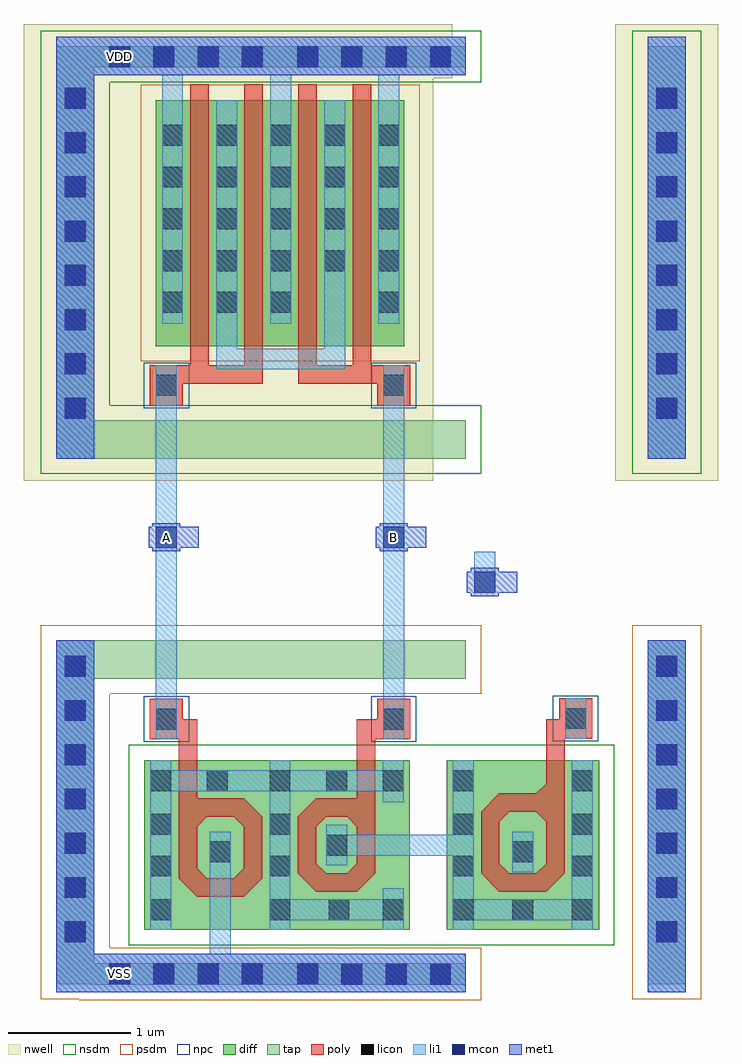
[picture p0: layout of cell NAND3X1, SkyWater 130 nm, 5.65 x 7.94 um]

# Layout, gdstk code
from math import pi, radians
import gdstk
lib = gdstk.Library(unit=1e-6, precision=1e-09)
def R(c, l, rs):  # rectangles x0, y0, x1, y1
    for r in rs: c.add(gdstk.rectangle(r[:2], r[2:], *l))
def A(c, l, x, y, w, h, nx, ny, dx, dy):  # array of equal rectangles
    R(c, l, [(x+i*dx, y+j*dy, x+i*dx+w, y+j*dy+h) for i in range(nx) for j in range(ny)])
def P(c, l, *ps):  # polygons
    for p in ps: c.add(gdstk.Polygon(p, *l))
nwell = (64, 20)
diff = (65, 20)
tap = (65, 44)
poly = (66, 20)
licon = (66, 44)
li1 = (67, 20)
mcon = (67, 44)
met1 = (68, 20)
nsdm = (93, 44)
psdm = (94, 20)
npc = (95, 20)

poly_li1_contact = lib.new_cell('poly_li1_contact')
R(poly_li1_contact, poly, [(-0.165,-0.135,0.165,0.135)])
R(poly_li1_contact, licon, [(-0.085,-0.085,0.085,0.085)])
R(poly_li1_contact, li1, [(-0.165,-0.085,0.165,0.085)])
R(poly_li1_contact, npc, [(-0.185,-0.185,0.185,0.185)])

pmos2 = lib.new_cell('pmos2')
R(pmos2, nwell, [(0.26,-2.175,1.76,0.185)])
R(pmos2, diff, [(0.44,-1.995,1.58,0.005)])
R(pmos2, poly, [(0.72,-2.3,1.31,-2.15), (0.72,-2.15,0.87,0.135), (1.16,-2.15,1.31,0.135)])
A(pmos2, licon, 0.49, -1.385, 0.17, 0.17, 3, 4, 0.44, 0.34)
R(pmos2, licon, [(0.49,-1.725,0.66,-1.555), (1.37,-1.725,1.54,-1.555)])
R(pmos2, li1, [(0.49,-1.815,0.66,0.21), (0.93,-1.815,1.1,0.005), (1.37,-1.815,1.54,0.21)])
R(pmos2, psdm, [(0.315,-2.12,1.705,0.13)])

nmos_bottom = lib.new_cell('nmos_bottom')
R(nmos_bottom, diff, [(-0.185,-0.02,1.055,1.36)])
R(nmos_bottom, poly, [(0.245,0.25,0.625,0.4), (0.095,0.4,0.245,0.9), (0.625,0.4,0.775,0.9), (0.095,0.9,0.625,1.05), (0.095,1.05,0.245,1.49)])
P(nmos_bottom, poly, [(0.625,1.05),(0.625,0.9),(0.775,0.9)],
  [(0.245,0.82),(0.245,0.9),(0.325,0.9)],
  [(0.545,0.9),(0.625,0.9),(0.625,0.82)],
  [(0.245,0.48),(0.245,0.4),(0.325,0.4)],
  [(0.545,0.4),(0.625,0.4),(0.625,0.48)],
  [(0.095,0.4),(0.245,0.4),(0.245,0.25)],
  [(0.625,0.25),(0.625,0.4),(0.775,0.4)])
R(nmos_bottom, licon, [(-0.135,0.06,0.035,0.23), (0.835,0.06,1.005,0.23), (-0.135,0.415,0.035,0.585), (0.835,0.415,1.005,0.585), (0.35,0.53,0.52,0.7), (-0.135,0.755,0.035,0.925), (0.835,0.755,1.005,0.925), (-0.135,1.11,0.035,1.28), (0.325,1.11,0.495,1.28), (0.835,1.11,1.005,1.28)])
R(nmos_bottom, li1, [(-0.135,-0.02,0.035,1.11), (0.835,-0.02,1.005,1.11), (0.35,0.45,0.52,0.78), (-0.135,1.11,1.005,1.28), (-0.135,1.28,0.035,1.36), (0.835,1.28,1.005,1.36)])
R(nmos_bottom, nsdm, [(-0.31,-0.145,1.18,1.485)])

li1_m1_contact_perp_ext = lib.new_cell('li1_M1_contact_perp_ext')
R(li1_m1_contact_perp_ext, li1, [(-0.085,-0.085,0.245,0.085)])
R(li1_m1_contact_perp_ext, mcon, [(-0.085,-0.085,0.085,0.085)])
R(li1_m1_contact_perp_ext, met1, [(-0.085,-0.265,0.085,-0.115), (-0.115,-0.115,0.115,0.115), (-0.085,0.115,0.085,0.145)])

diff_ring_side = lib.new_cell('diff_ring_side')
R(diff_ring_side, nwell, [(-0.42,4.16,0.42,7.875)])
R(diff_ring_side, tap, [(-0.155,0.065,0.155,2.86), (-0.155,4.34,0.155,7.695)])
A(diff_ring_side, licon, -0.085, 0.405, 0.17, 0.17, 1, 7, 0, 0.36)
A(diff_ring_side, licon, -0.085, 4.665, 0.17, 0.17, 1, 8, 0, 0.36)
R(diff_ring_side, li1, [(-0.155,0,0.155,2.86), (-0.155,4.34,0.155,7.77)])
A(diff_ring_side, mcon, -0.085, 0.405, 0.17, 0.17, 1, 7, 0, 0.36)
A(diff_ring_side, mcon, -0.085, 4.665, 0.17, 0.17, 1, 8, 0, 0.36)
R(diff_ring_side, met1, [(-0.155,0,0.155,2.86), (-0.155,4.34,0.155,7.77)])
R(diff_ring_side, nsdm, [(-0.28,4.215,0.28,7.82)])
R(diff_ring_side, psdm, [(-0.28,-0.06,0.28,2.985)])

nmos_side_left = lib.new_cell('nmos_side_left')
R(nmos_side_left, diff, [(-0.135,-0.165,1.055,1.215)])
R(nmos_side_left, poly, [(0.295,0.145,0.625,0.295), (0.145,0.295,0.295,0.755), (0.625,0.295,0.775,0.755), (0.145,0.755,0.625,0.905), (0.145,0.905,0.295,1.345)])
P(nmos_side_left, poly, [(0.625,0.905),(0.625,0.755),(0.775,0.755)],
  [(0.295,0.675),(0.295,0.755),(0.375,0.755)],
  [(0.545,0.755),(0.625,0.755),(0.625,0.675)],
  [(0.295,0.375),(0.295,0.295),(0.375,0.295)],
  [(0.545,0.295),(0.625,0.295),(0.625,0.375)],
  [(0.145,0.295),(0.295,0.295),(0.295,0.145)],
  [(0.625,0.145),(0.625,0.295),(0.775,0.295)])
A(nmos_side_left, licon, -0.085, 0.965, 0.17, 0.17, 3, 1, 0.46, 0)
R(nmos_side_left, licon, [(-0.085,-0.085,0.085,0.085), (0.355,-0.085,0.525,0.085), (0.835,-0.085,1.005,0.085), (0.835,0.27,1.005,0.44), (0.375,0.44,0.545,0.61), (0.835,0.61,1.005,0.78)])
R(nmos_side_left, li1, [(-0.085,-0.165,0.085,-0.085), (0.835,-0.165,1.005,-0.085), (-0.085,-0.085,1.005,0.085), (-0.085,0.085,0.085,0.175), (0.835,0.085,1.005,0.965), (0.375,0.36,0.545,0.44), (-0.085,0.44,0.545,0.61), (0.375,0.61,0.545,0.69), (-0.085,0.875,0.085,0.965), (-0.085,0.965,1.005,1.135), (-0.085,1.135,0.085,1.215), (0.835,1.135,1.005,1.215)])
R(nmos_side_left, nsdm, [(-0.26,-0.29,1.18,1.34)])

nmos_top = lib.new_cell('nmos_top')
R(nmos_top, diff, [(-0.005,0,1.235,1.38)])
R(nmos_top, poly, [(0.425,0.31,0.805,0.46), (0.275,0.46,0.425,0.96), (0.805,0.46,0.955,0.96), (0.425,0.96,0.955,1.11), (0.805,1.11,0.955,1.545)])
P(nmos_top, poly, [(0.725,1.11),(0.805,1.11),(0.805,1.19)],
  [(0.275,0.96),(0.425,0.96),(0.425,1.11)],
  [(0.425,0.88),(0.425,0.96),(0.505,0.96)],
  [(0.725,0.96),(0.805,0.96),(0.805,0.88)],
  [(0.425,0.54),(0.425,0.46),(0.505,0.46)],
  [(0.725,0.46),(0.805,0.46),(0.805,0.54)],
  [(0.275,0.46),(0.425,0.46),(0.425,0.31)],
  [(0.805,0.31),(0.805,0.46),(0.955,0.46)])
A(nmos_top, licon, 0.045, 0.08, 0.17, 0.17, 3, 1, 0.485, 0)
R(nmos_top, licon, [(0.045,0.435,0.215,0.605), (1.015,0.435,1.185,0.605), (0.53,0.55,0.7,0.72), (0.045,0.775,0.215,0.945), (1.015,0.775,1.185,0.945), (0.045,1.13,0.215,1.3), (1.015,1.13,1.185,1.3)])
R(nmos_top, li1, [(0.045,0,0.215,0.08), (1.015,0,1.185,0.08), (0.045,0.08,1.185,0.25), (0.045,0.25,0.215,1.38), (1.015,0.25,1.185,1.38), (0.53,0.47,0.7,0.8)])
R(nmos_top, nsdm, [(-0.13,-0.125,1.36,1.505)])

nand3x1 = lib.new_cell('NAND3X1')
R(nand3x1, nwell, [(0.42,4.16,2.91,5.525), (0.42,5.525,1.025,5.695), (1.145,5.525,2.91,5.695), (0.42,5.695,2.91,7.435), (0.42,7.435,3.065,7.46), (0.42,7.46,3.175,7.77), (0.42,7.77,3.065,7.875)])
R(nand3x1, diff, [(1.145,5.525,1.315,5.695)])
R(nand3x1, tap, [(0.155,0.06,3.175,0.235), (0.155,2.55,3.175,2.86), (0.155,4.34,3.175,4.65), (0.155,7.525,3.175,7.695)])
R(nand3x1, poly, [(0.84,2.015,0.99,2.055), (2.29,2.015,2.44,2.055), (3.83,2.05,3.98,2.06), (0.875,2.055,0.99,2.22), (2.29,2.055,2.455,2.22), (3.83,2.06,3.935,2.22), (0.875,4.95,0.935,5.1), (2.405,4.95,2.455,5.1)])
A(nand3x1, licon, 2.165, 0.06, 0.17, 0.17, 3, 1, 0.36, 0)
A(nand3x1, licon, 0.275, 0.065, 0.17, 0.17, 4, 2, 0.36, 7.46)
A(nand3x1, licon, 1.805, 7.525, 0.17, 0.17, 4, 1, 0.36, 0)
R(nand3x1, licon, [(1.805,0.065,1.975,0.235), (1.145,5.525,1.315,5.695)])
R(nand3x1, li1, [(0.155,0,3.175,0.31), (1.095,0.31,1.265,0.975), (2.67,1.11,3.07,1.28), (0.655,2.305,0.825,4.77), (2.505,2.385,2.675,4.77), (1.145,5.065,2.195,5.235), (1.145,5.235,1.315,5.435), (2.025,5.235,2.195,5.435), (1.145,5.525,1.315,5.695), (0.155,7.46,3.175,7.77)])
A(nand3x1, mcon, 2.165, 0.06, 0.17, 0.17, 3, 1, 0.36, 0)
A(nand3x1, mcon, 0.275, 0.065, 0.17, 0.17, 4, 2, 0.36, 7.46)
A(nand3x1, mcon, 1.805, 7.525, 0.17, 0.17, 4, 1, 0.36, 0)
R(nand3x1, mcon, [(1.805,0.065,1.975,0.235)])
R(nand3x1, met1, [(0.155,0,3.175,0.31), (0.655,3.615,0.825,3.785), (0.155,7.46,3.175,7.77)])
R(nand3x1, nsdm, [(2.845,0.38,2.895,2.01), (0.03,4.215,3.3,4.775), (0.03,7.4,3.3,7.82)])
R(nand3x1, psdm, [(0.03,-0.065,3.3,0.36), (0.03,2.425,3.3,2.985), (1.02,5.4,1.44,5.82)])
nand3x1.add(gdstk.Reference(poly_li1_contact, (0.74,2.22), rotation=3*pi/2))
nand3x1.add(gdstk.Reference(pmos2, (0.215,7.25)))
nand3x1.add(gdstk.Reference(nmos_bottom, (0.745,0.525)))
nand3x1.add(gdstk.Reference(li1_m1_contact_perp_ext, (0.74,3.7), rotation=pi/2))
nand3x1.add(gdstk.Reference(poly_li1_contact, (0.74,4.935), rotation=3*pi/2))
nand3x1.add(gdstk.Reference(diff_ring_side, (0,0)))
nand3x1.add(gdstk.Reference(nmos_side_left, (2.585,0.67), rotation=pi, x_reflection=True))
nand3x1.add(gdstk.Reference(li1_m1_contact_perp_ext, (2.59,3.7), rotation=pi/2))
nand3x1.add(gdstk.Reference(poly_li1_contact, (2.59,2.22), rotation=3*pi/2))
nand3x1.add(gdstk.Reference(poly_li1_contact, (2.59,4.935), rotation=3*pi/2))
nand3x1.add(gdstk.Reference(pmos2, (1.095,7.25)))
nand3x1.add(gdstk.Reference(li1_m1_contact_perp_ext, (3.33,3.335), rotation=pi/2))
nand3x1.add(gdstk.Reference(poly_li1_contact, (4.07,2.225), rotation=3*pi/2))
nand3x1.add(gdstk.Reference(nmos_top, (3.025,0.505)))
nand3x1.add(gdstk.Reference(diff_ring_side, (4.81,0)))
nand3x1.add(gdstk.Label('A', (0.74,3.7), layer=68, texttype=16))
nand3x1.add(gdstk.Label('VDD', (0.36,7.61), layer=68, texttype=16))
nand3x1.add(gdstk.Label('VSS', (0.36,0.15), layer=68, texttype=16))
nand3x1.add(gdstk.Label('B', (2.59,3.7), layer=68, texttype=16))

lib.write_gds('NAND3X1.gds')
